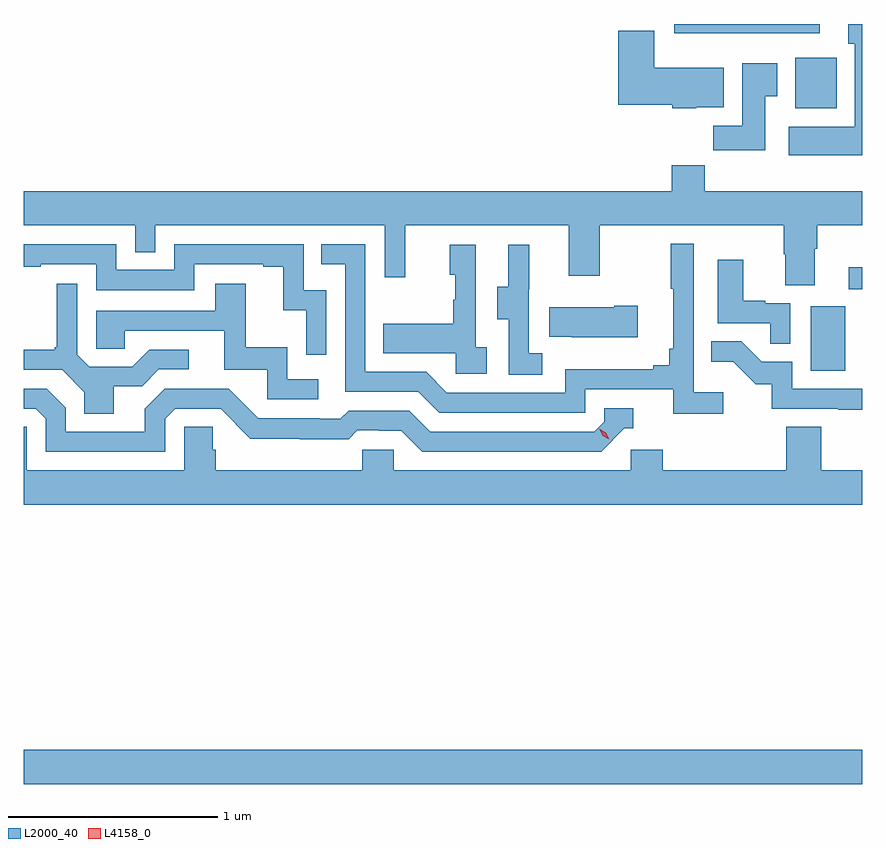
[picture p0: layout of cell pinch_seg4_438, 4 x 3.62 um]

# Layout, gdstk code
import gdstk
lib = gdstk.Library(unit=1e-6, precision=1e-09)
def R(c, l, rs):  # rectangles x0, y0, x1, y1
    for r in rs: c.add(gdstk.rectangle(r[:2], r[2:], *l))
def P(c, l, *ps):  # polygons
    for p in ps: c.add(gdstk.Polygon(p, *l))
L2000_40 = (2000, 40)
L4158_0 = (4158, 0)

pinch_seg4_438 = lib.new_cell('pinch_seg4_438')
R(pinch_seg4_438, L2000_40, [(912.855,771.512,916.855,771.676), (916.61,773.484,916.774,773.791), (916.791,773.871,916.855,773.977), (916.535,774.734,916.732,774.976), (915.959,775.094,916.651,775.137)])
P(pinch_seg4_438, L2000_40, [(916.855,775.137),(916.787,775.137),(916.787,775.043),(916.82,775.043),(916.82,774.646),(916.503,774.646),(916.503,774.512),(916.855,774.512)],
  [(916.062,774.74),(916.195,774.74),(916.195,774.928),(915.862,774.928),(915.862,775.105),(915.692,775.105),(915.692,774.752),(915.948,774.752),(915.948,774.734),(916.062,774.734)],
  [(916.393,774.793),(916.45,774.793),(916.45,774.949),(916.283,774.949),(916.283,774.652),(916.144,774.652),(916.144,774.534),(916.393,774.534)],
  [(916.627,774.064),(916.64,774.064),(916.64,774.176),(916.855,774.176),(916.855,774.34),(916.103,774.34),(916.103,774.464),(915.947,774.464),(915.947,774.34),(912.855,774.34),(912.855,774.176),(913.386,774.176),(913.386,774.049),(913.482,774.049),(913.482,774.176),(914.577,774.176),(914.577,773.928),(914.675,773.928),(914.675,774.176),(915.455,774.176),(915.455,773.937),(915.603,773.937),(915.603,774.176),(916.48,774.176),(916.48,774.039),(916.487,774.039),(916.487,773.89),(916.627,773.89)],
  [(916.192,773.38),(916.05,773.38),(916.05,774.088),(915.942,774.088),(915.942,773.875),(915.953,773.875),(915.953,773.587),(915.934,773.587),(915.934,773.51),(915.857,773.51),(915.857,773.491),(915.438,773.491),(915.438,773.379),(914.874,773.379),(914.775,773.478),(914.484,773.478),(914.484,774.087),(914.275,774.087),(914.275,773.991),(914.388,773.991),(914.388,773.382),(914.738,773.382),(914.837,773.283),(915.534,773.283),(915.534,773.394),(915.953,773.394),(915.953,773.278),(916.192,773.278)],
  [(914.298,773.868),(914.19,773.868),(914.19,774.087),(913.572,774.087),(913.572,773.964),(913.296,773.964),(913.296,774.087),(912.855,774.087),(912.855,773.979),(912.937,773.979),(912.937,773.991),(913.2,773.991),(913.2,773.868),(913.668,773.868),(913.668,773.991),(913.997,773.991),(913.997,773.979),(914.093,773.979),(914.093,773.771),(914.202,773.771),(914.202,773.559),(914.298,773.559)],
  [(915.064,773.594),(915.012,773.594),(915.012,774.085),(914.888,774.085),(914.888,773.94),(914.914,773.94),(914.914,773.822),(914.904,773.822),(914.904,773.707),(914.569,773.707),(914.569,773.567),(914.916,773.567),(914.916,773.469),(915.064,773.469)],
  [(915.328,773.567),(915.264,773.567),(915.264,773.871),(915.266,773.871),(915.266,774.085),(915.167,774.085),(915.167,773.883),(915.113,773.883),(915.113,773.728),(915.168,773.728),(915.168,773.464),(915.328,773.464)],
  [(916.512,773.805),(916.391,773.805),(916.391,773.818),(916.288,773.818),(916.288,774.013),(916.166,774.013),(916.166,773.709),(916.417,773.709),(916.417,773.611),(916.512,773.611)],
  [(913.285,773.41),(913.42,773.41),(913.5,773.49),(913.642,773.49),(913.642,773.583),(913.454,773.583),(913.373,773.502),(913.167,773.502),(913.11,773.559),(913.11,773.899),(913.013,773.899),(913.013,773.596),(913.002,773.596),(913.002,773.584),(912.855,773.584),(912.855,773.487),(913.038,773.487),(913.145,773.38),(913.145,773.278),(913.285,773.278)],
  [(914.26,773.442),(914.112,773.442),(914.112,773.596),(913.913,773.596),(913.913,773.899),(913.769,773.899),(913.769,773.769),(913.2,773.769),(913.2,773.589),(913.337,773.589),(913.337,773.673),(913.811,773.673),(913.811,773.487),(914.016,773.487),(914.016,773.346),(914.26,773.346)],
  [(915.784,773.793),(915.671,773.793),(915.671,773.785),(915.361,773.785),(915.361,773.645),(915.469,773.645),(915.469,773.642),(915.784,773.642)],
  [(916.855,773.397),(916.521,773.397),(916.521,773.526),(916.376,773.526),(916.278,773.624),(916.135,773.624),(916.135,773.525),(916.239,773.525),(916.346,773.418),(916.423,773.418),(916.423,773.301),(916.741,773.301),(916.741,773.296),(916.855,773.296)],
  [(913.53,773.253),(913.578,773.301),(913.794,773.301),(913.936,773.159),(914.172,773.159),(914.172,773.157),(914.405,773.157),(914.447,773.199),(914.55,773.199),(914.55,773.196),(914.657,773.196),(914.756,773.097),(915.609,773.097),(915.72,773.208),(915.763,773.208),(915.763,773.304),(915.624,773.304),(915.624,773.241),(915.576,773.193),(914.793,773.193),(914.694,773.292),(914.405,773.292),(914.366,773.253),(914.267,773.253),(914.267,773.256),(913.974,773.256),(913.833,773.397),(913.527,773.397),(913.433,773.303),(913.433,773.193),(913.056,773.193),(913.056,773.307),(912.966,773.397),(912.855,773.397),(912.855,773.301),(912.912,773.301),(912.96,773.253),(912.96,773.097),(913.53,773.097)],
  [(914.469,773.106),(914.469,773.008),(913.772,773.008),(913.772,773.106),(913.757,773.106),(913.757,773.216),(913.62,773.216),(913.62,773.008),(912.87,773.008),(912.87,773.216),(912.855,773.216),(912.855,772.844),(916.855,772.844),(916.855,773.008),(916.658,773.008),(916.658,773.216),(916.493,773.216),(916.493,773.008),(915.902,773.008),(915.902,773.106),(915.75,773.106),(915.75,773.008),(914.619,773.008),(914.619,773.106)])
P(pinch_seg4_438, L4158_0, [(915.648,773.156),(915.617,773.174),(915.6,773.206),(915.6,773.207),(915.6,773.207),(915.631,773.188),(915.648,773.156),(915.648,773.156)])

lib.write_gds('pinch_seg4_438.gds')
